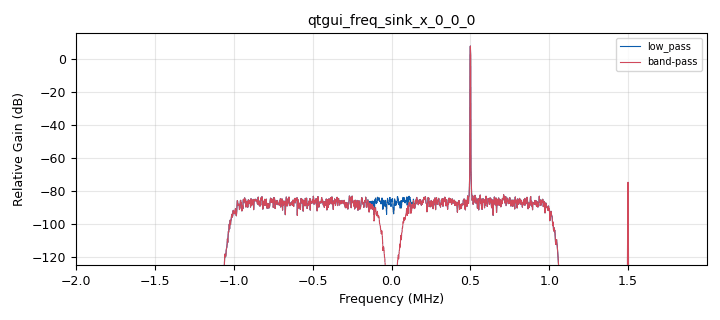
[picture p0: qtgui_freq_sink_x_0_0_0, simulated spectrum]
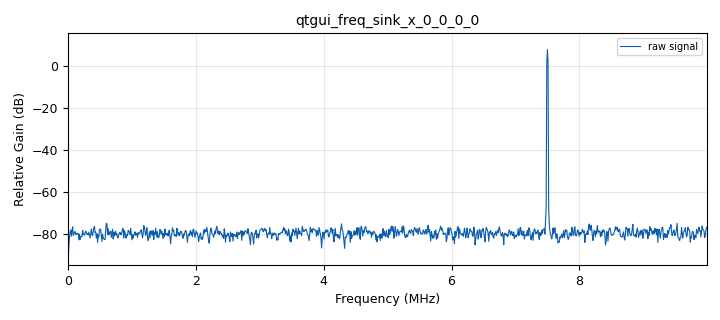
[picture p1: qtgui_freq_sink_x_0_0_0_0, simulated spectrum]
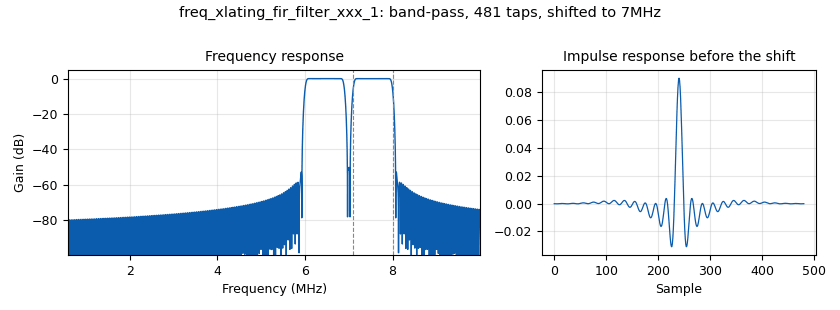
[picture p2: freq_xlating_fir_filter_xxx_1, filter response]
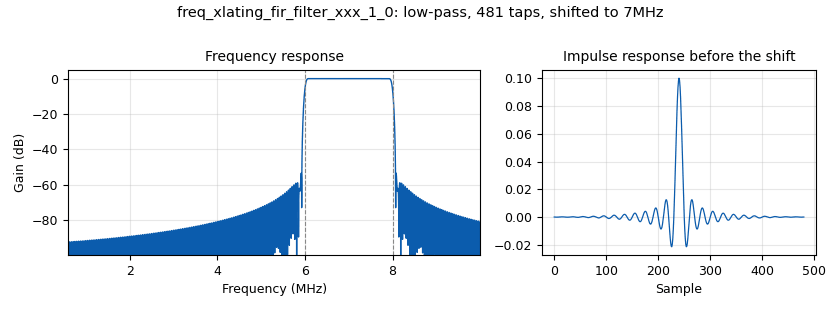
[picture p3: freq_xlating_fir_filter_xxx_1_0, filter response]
<?xml version='1.0' encoding='utf-8'?>
<?grc format='1' created='3.7.11'?>
<flow_graph>
<block>
<key>options</key>
<param><key>id</key><value>B3_3_decimation_xlation</value></param>
<param><key>author</key><value>rstein</value></param>
<param><key>description</key><value>Demo to illustrate the signal down-mixing and decimation module</value></param>
<param><key>generate_options</key><value>qt_gui</value></param>
</block>
<block>
<key>variable_qtgui_range</key>
<param><key>id</key><value>bandWidth</value></param>
<param><key>value</key><value>1</value></param>
<param><key>gui_hint</key><value>5,0,2,2</value></param>
<param><key>label</key><value>(Upper) Bandwidth [MHz]</value></param>
<param><key>orient</key><value>Qt.Horizontal</value></param>
<param><key>start</key><value>0</value></param>
<param><key>step</key><value>0.1</value></param>
<param><key>stop</key><value>10</value></param>
</block>
<block>
<key>variable_qtgui_range</key>
<param><key>id</key><value>centerFreq</value></param>
<param><key>value</key><value>7</value></param>
<param><key>gui_hint</key><value>7,0,2,2</value></param>
<param><key>label</key><value>LO Frequency [MHz]</value></param>
<param><key>orient</key><value>Qt.Horizontal</value></param>
<param><key>start</key><value>0</value></param>
<param><key>step</key><value>0.1</value></param>
<param><key>stop</key><value>10</value></param>
</block>
<block>
<key>variable_qtgui_range</key>
<param><key>id</key><value>dcCutOff</value></param>
<param><key>value</key><value>0.1</value></param>
<param><key>gui_hint</key><value>4,0,2,2</value></param>
<param><key>label</key><value>(Lower) Bandwidth [MHz]</value></param>
<param><key>orient</key><value>Qt.Horizontal</value></param>
<param><key>start</key><value>0</value></param>
<param><key>step</key><value>0.1</value></param>
<param><key>stop</key><value>10</value></param>
</block>
<block>
<key>variable</key>
<param><key>id</key><value>decimation</value></param>
<param><key>value</key><value>5</value></param>
</block>
<block>
<key>variable_qtgui_range</key>
<param><key>id</key><value>freq</value></param>
<param><key>value</key><value>7.5</value></param>
<param><key>gui_hint</key><value>6,0,2,2</value></param>
<param><key>label</key><value>Single Tone [MHz]</value></param>
<param><key>orient</key><value>Qt.Horizontal</value></param>
<param><key>start</key><value>0.1</value></param>
<param><key>step</key><value>0.1</value></param>
<param><key>stop</key><value>10</value></param>
</block>
<block>
<key>variable</key>
<param><key>id</key><value>samp_rate</value></param>
<param><key>value</key><value>20000000</value></param>
</block>
<block>
<key>variable_qtgui_range</key>
<param><key>id</key><value>transitionWidth</value></param>
<param><key>value</key><value>0.1</value></param>
<param><key>gui_hint</key><value>4,2,2,2</value></param>
<param><key>label</key><value>Transition Width [MHz]</value></param>
<param><key>orient</key><value>Qt.Horizontal</value></param>
<param><key>start</key><value>0.05</value></param>
<param><key>step</key><value>0.05</value></param>
<param><key>stop</key><value>1</value></param>
</block>
<block>
<key>analog_noise_source_x</key>
<param><key>id</key><value>analog_noise_source_x_0_0</value></param>
<param><key>amp</key><value>0.01</value></param>
<param><key>noise_type</key><value>analog.GR_GAUSSIAN</value></param>
<param><key>type</key><value>float</value></param>
<param><key>seed</key><value>0</value></param>
</block>
<block>
<key>analog_sig_source_x</key>
<param><key>id</key><value>analog_sig_source_x_0_0_0</value></param>
<param><key>amp</key><value>10</value></param>
<param><key>freq</key><value>freq*1e6</value></param>
<param><key>offset</key><value>0</value></param>
<param><key>type</key><value>float</value></param>
<param><key>samp_rate</key><value>samp_rate</value></param>
<param><key>waveform</key><value>analog.GR_COS_WAVE</value></param>
</block>
<block>
<key>blocks_add_xx</key>
<param><key>id</key><value>blocks_add_xx_0</value></param>
<param><key>type</key><value>float</value></param>
</block>
<block>
<key>blocks_null_source</key>
<param><key>id</key><value>blocks_null_source_0</value></param>
<param><key>bus_conns</key><value>[[0,],]</value></param>
<param><key>_enabled</key><value>0</value></param>
<param><key>type</key><value>complex</value></param>
</block>
<block>
<key>blocks_throttle</key>
<param><key>id</key><value>blocks_throttle_0_0</value></param>
<param><key>samples_per_second</key><value>samp_rate</value></param>
<param><key>type</key><value>float</value></param>
</block>
<block>
<key>freq_xlating_fir_filter_xxx</key>
<param><key>id</key><value>freq_xlating_fir_filter_xxx_1</value></param>
<param><key>center_freq</key><value>centerFreq*1e6</value></param>
<param><key>decim</key><value>decimation</value></param>
<param><key>samp_rate</key><value>samp_rate</value></param>
<param><key>taps</key><value>firdes.band_pass(1,samp_rate, dcCutOff*1e6, bandWidth*1e6, transitionWidth*1e6)</value></param>
<param><key>type</key><value>fcf</value></param>
</block>
<block>
<key>freq_xlating_fir_filter_xxx</key>
<param><key>id</key><value>freq_xlating_fir_filter_xxx_1_0</value></param>
<param><key>center_freq</key><value>centerFreq*1e6</value></param>
<param><key>decim</key><value>decimation</value></param>
<param><key>samp_rate</key><value>samp_rate</value></param>
<param><key>taps</key><value>firdes.low_pass(1,samp_rate, bandWidth*1e6, transitionWidth*1e6)</value></param>
<param><key>type</key><value>fcf</value></param>
</block>
<block>
<key>qtgui_freq_sink_x</key>
<param><key>id</key><value>qtgui_freq_sink_x_0_0_0</value></param>
<param><key>autoscale</key><value>True</value></param>
<param><key>average</key><value>0.2</value></param>
<param><key>bw</key><value>samp_rate/decimation</value></param>
<param><key>fc</key><value>0</value></param>
<param><key>fftsize</key><value>2048</value></param>
<param><key>gui_hint</key><value>2,0,2,4</value></param>
<param><key>grid</key><value>True</value></param>
<param><key>color1</key><value>"red"</value></param>
<param><key>label1</key><value>low_pass</value></param>
<param><key>color2</key><value>"green"</value></param>
<param><key>label2</key><value>band-pass</value></param>
<param><key>nconnections</key><value>2</value></param>
<param><key>showports</key><value>True</value></param>
<param><key>freqhalf</key><value>False</value></param>
<param><key>type</key><value>complex</value></param>
<param><key>update_time</key><value>0.1</value></param>
<param><key>wintype</key><value>firdes.WIN_HANN</value></param>
</block>
<block>
<key>qtgui_freq_sink_x</key>
<param><key>id</key><value>qtgui_freq_sink_x_0_0_0_0</value></param>
<param><key>autoscale</key><value>True</value></param>
<param><key>average</key><value>0.2</value></param>
<param><key>bw</key><value>samp_rate</value></param>
<param><key>fc</key><value>0</value></param>
<param><key>fftsize</key><value>2048</value></param>
<param><key>gui_hint</key><value>0,0,2,4</value></param>
<param><key>grid</key><value>True</value></param>
<param><key>label1</key><value>raw signal</value></param>
<param><key>showports</key><value>True</value></param>
<param><key>freqhalf</key><value>False</value></param>
<param><key>type</key><value>float</value></param>
<param><key>wintype</key><value>firdes.WIN_HANN</value></param>
</block>
<connection><source_block_id>analog_noise_source_x_0_0</source_block_id><sink_block_id>blocks_add_xx_0</sink_block_id><source_key>0</source_key><sink_key>0</sink_key></connection>
<connection><source_block_id>analog_sig_source_x_0_0_0</source_block_id><sink_block_id>blocks_add_xx_0</sink_block_id><source_key>0</source_key><sink_key>1</sink_key></connection>
<connection><source_block_id>blocks_add_xx_0</source_block_id><sink_block_id>blocks_throttle_0_0</sink_block_id><source_key>0</source_key><sink_key>0</sink_key></connection>
<connection><source_block_id>blocks_add_xx_0</source_block_id><sink_block_id>freq_xlating_fir_filter_xxx_1</sink_block_id><source_key>0</source_key><sink_key>0</sink_key></connection>
<connection><source_block_id>blocks_add_xx_0</source_block_id><sink_block_id>freq_xlating_fir_filter_xxx_1_0</sink_block_id><source_key>0</source_key><sink_key>0</sink_key></connection>
<connection><source_block_id>blocks_null_source_0</source_block_id><sink_block_id>qtgui_freq_sink_x_0_0_0</sink_block_id><source_key>0</source_key><sink_key>1</sink_key></connection>
<connection><source_block_id>blocks_throttle_0_0</source_block_id><sink_block_id>qtgui_freq_sink_x_0_0_0_0</sink_block_id><source_key>0</source_key><sink_key>0</sink_key></connection>
<connection><source_block_id>freq_xlating_fir_filter_xxx_1</source_block_id><sink_block_id>qtgui_freq_sink_x_0_0_0</sink_block_id><source_key>0</source_key><sink_key>1</sink_key></connection>
<connection><source_block_id>freq_xlating_fir_filter_xxx_1_0</source_block_id><sink_block_id>qtgui_freq_sink_x_0_0_0</sink_block_id><source_key>0</source_key><sink_key>0</sink_key></connection>
</flow_graph>
